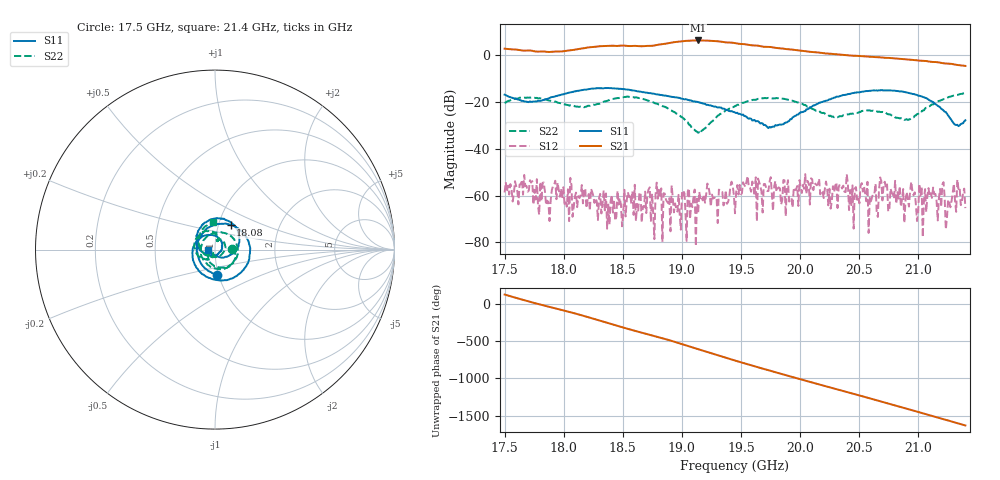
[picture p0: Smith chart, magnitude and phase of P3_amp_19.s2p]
!Created with skrf (http://scikit-rf.org).
# GHz S RI R 50.0
!freq ReS11 ImS11 ReS21 ImS21 ReS12 ImS12 ReS22 ImS22
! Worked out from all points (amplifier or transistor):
!   401 points, 17.5 GHz to 21.4 GHz, reference 50 ohm
!   highest |S21| = 6.2 dB at 19.14 GHz (marker M1)
!   |S21| within 3 dB of that: 18.21 GHz to 19.77 GHz (1.57 GHz wide, 8.27 % of centre)
!   unconditionally stable (mu >= 1): start of sweep to end of sweep
!   at 18.14 GHz: K = 348.10, MAG = 2.9 dB, |S12| = -59.9 dB
!   at 19.45 GHz: K = 655.25, MAG = 5.2 dB, |S12| = -67.6 dB
!   at 21.4 GHz: K = 1537.43, MAG = -4.5 dB, |S12| = -65.4 dB
!   S11 on the Smith chart (normalised r, x): 17.5 GHz: 0.98, -0.28; 18.08 GHz: 1.14, +0.32; 21.4 GHz: 0.92, -0.00
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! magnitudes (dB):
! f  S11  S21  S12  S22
! 17.5 GHz  -16.9  2.7  -58.7  -20.4
! 18.08 GHz  -15.7  2.1  -69.0  -21.6
! 18.15 GHz  -15.0  2.8  -55.5  -22.1
! 18.37 GHz  -14.1  3.9  -74.2  -19.5
! 18.71 GHz  -16.1  3.9  -59.2  -19.4
! 18.76 GHz  -16.4  4.0  -67.6  -20.2
! 18.81 GHz  -16.9  4.5  -57.5  -21.2
! 18.86 GHz  -17.3  4.8  -59.2  -22.1
! 19.14 GHz  -20.0  6.2  -67.5  -33.2
! 19.21 GHz  -21.2  6.2  -59.4  -30.9
! 19.45 GHz  -24.5  5.1  -67.6  -21.8
! 19.74 GHz  -30.7  3.5  -54.0  -18.4
! 19.93 GHz  -27.4  2.4  -61.0  -19.5
! 20.1 GHz  -21.9  1.3  -53.1  -22.9
! 20.25 GHz  -18.9  0.6  -57.1  -26.1
! 20.39 GHz  -16.9  0.0  -58.5  -25.5
! 20.43 GHz  -16.4  -0.2  -64.5  -25.1
! 20.53 GHz  -15.6  -0.5  -58.3  -23.8
! 20.6 GHz  -15.2  -0.7  -62.4  -23.9
! 20.7 GHz  -15.0  -1.1  -62.1  -24.3
! 20.76 GHz  -15.1  -1.2  -66.0  -25.4
! 21.4 GHz  -27.8  -4.6  -65.4  -16.1
